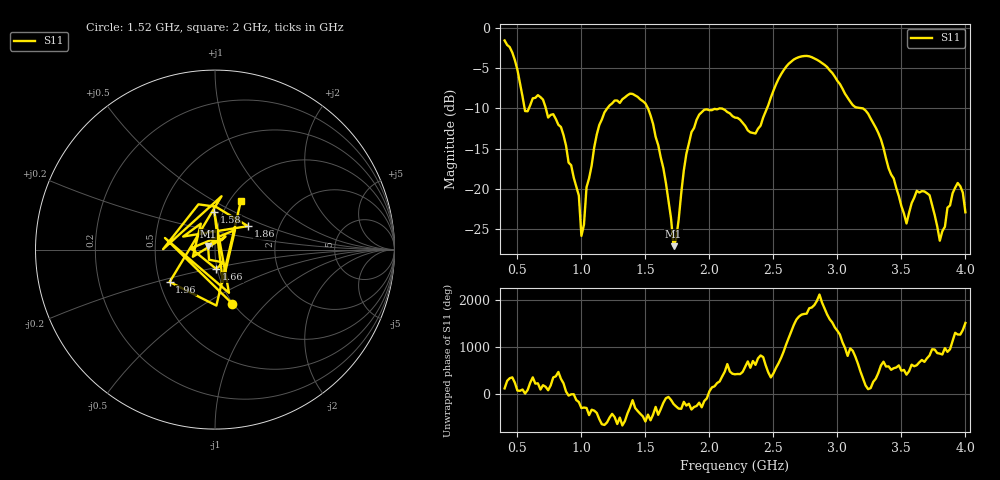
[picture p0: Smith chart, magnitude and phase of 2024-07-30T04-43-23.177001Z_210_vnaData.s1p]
!Created with skrf (http://scikit-rf.org).
# Hz S RI R 50.0
!freq ReS11 ImS11
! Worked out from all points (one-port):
!   181 points, 400 MHz to 4 GHz, reference 50 ohm
!   lowest |S11| = -27.2 dB at 1.72 GHz (marker M1), VSWR 1.09, Z = 46.2 + j1.85 ohm
!   |S11| at or under -10 dB: 722.3 MHz to 1.201 GHz (479.1 MHz wide, 49.8 % of centre); 1.521 GHz to 2.079 GHz (558 MHz wide, 31 % of centre); 3.201 GHz to end of sweep (the widest 3 of 5)
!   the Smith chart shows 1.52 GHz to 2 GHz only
!   S11 on the Smith chart (normalised r, x): 1.52 GHz: 0.99, -0.67; 1.58 GHz: 0.91, +0.40; 1.66 GHz: 0.99, -0.22; 1.86 GHz: 1.39, +0.38; 1.96 GHz: 0.56, -0.23; 2 GHz: 1.12, +0.68
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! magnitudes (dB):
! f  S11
! 400 MHz  -1.5
! 560 MHz  -10.3
! 660 MHz  -8.3
! 860 MHz  -13.3
! 980 MHz  -20.9
! 1 GHz  -25.9
! 1.14 GHz  -12.0
! 1.3 GHz  -9.3
! 1.52 GHz  -10.0
! 1.58 GHz  -13.6
! 1.66 GHz  -19.3
! 1.72 GHz  -27.2
! 1.76 GHz  -23.9
! 1.86 GHz  -12.9
! 1.96 GHz  -10.2
! 2 GHz  -10.2
! 2.2 GHz  -11.1
! 2.36 GHz  -13.1
! 2.66 GHz  -3.9
! 2.9 GHz  -4.6
! 3.1 GHz  -9.1
! 3.3 GHz  -12.4
! 3.54 GHz  -24.3
! 3.56 GHz  -23.0
! 3.72 GHz  -20.8
! 3.8 GHz  -26.5
! 3.94 GHz  -19.3
! 4 GHz  -22.9
